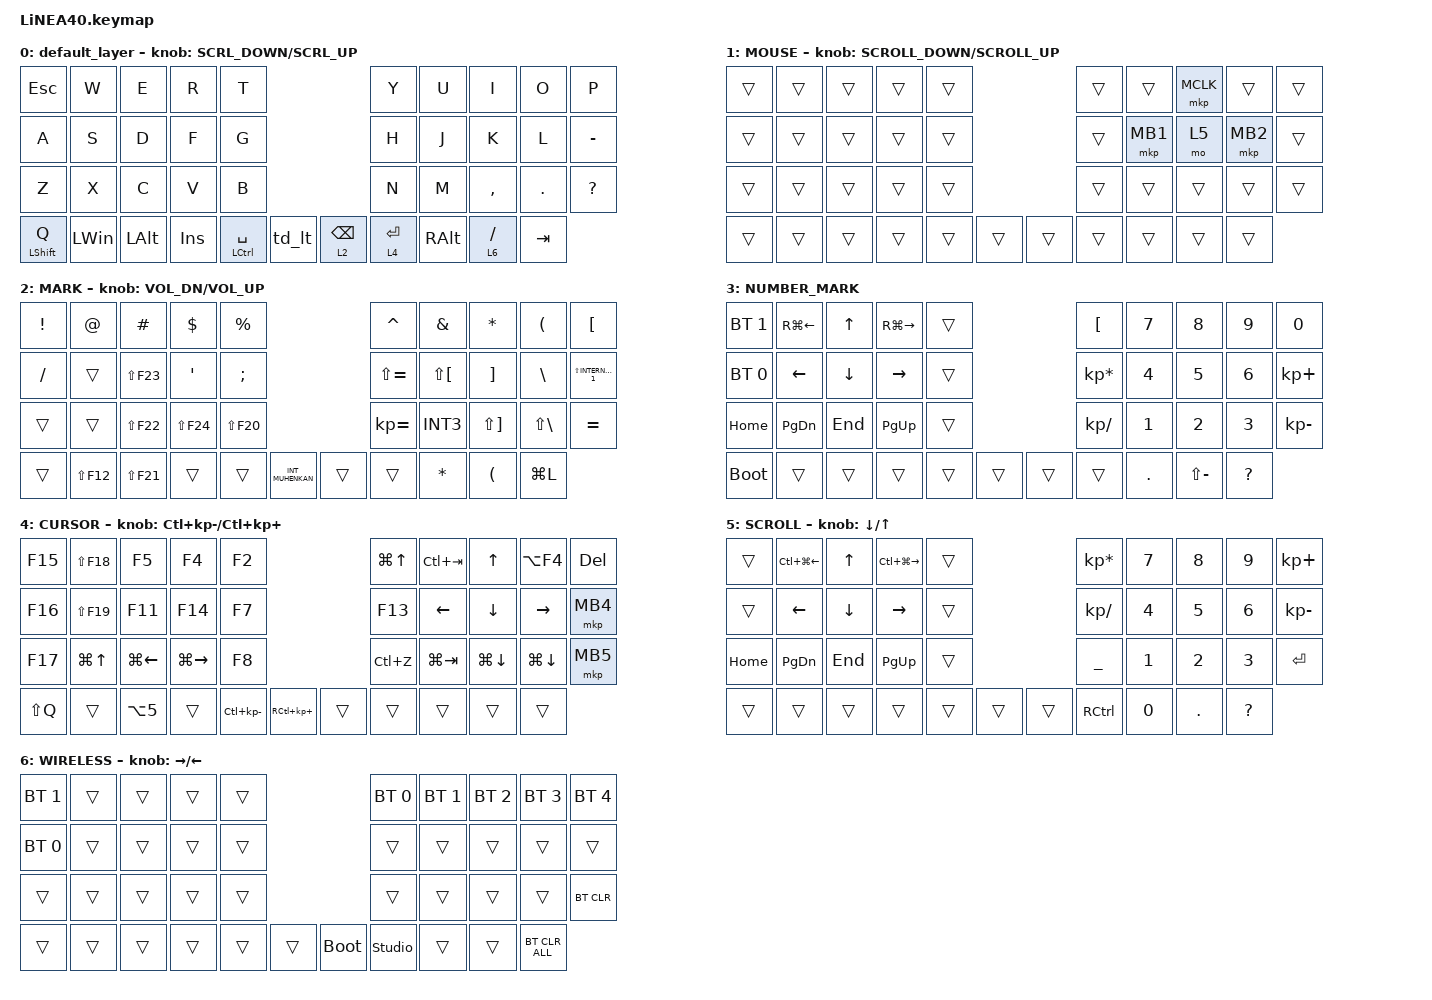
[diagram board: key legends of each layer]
#define ZMK_POINTING_DEFAULT_SCRL_VAL 150

#include <dt-bindings/zmk/input_transform.h>
#include <input/processors.dtsi>
#include <zephyr/dt-bindings/input/input-event-codes.h>
#include <behaviors.dtsi>
#include <dt-bindings/zmk/bt.h>
#include <dt-bindings/zmk/keys.h>
#include <dt-bindings/zmk/pointing.h>

#define MOUSE 1
#define MARK 2
#define CURSOR 3
#define FUNCTION 4
#define SCROLL 5
#define WIRELESS 6

//mouse cursol

&mmv {
    delay-ms = <20>;
    trigger-period-ms = <5>;
    time-to-max-speed-ms = <100>;
    acceleration-exponent = <2>;
};

//mouse scroll

&msc {
    delay-ms = <3>;
    trigger-period-ms = <3>;
    time-to-max-speed-ms = <100>;
    acceleration-exponent = <0>;
};

&lt { tapping-term-ms = <200>; };

/ {
    input_processors {
        zip_wheel_scaler: zip_wheel_scaler {
            compatible = "zmk,input-processor-scaler";
            #input-processor-cells = <2>;
            type = <INPUT_EV_REL>;
            codes = <INPUT_REL_WHEEL>;
            track-remainders;
        };
    };
};

&msc_input_listener {
    speed_up {
        layers = <FUNCTION>;
        input-processors = <&zip_wheel_scaler 2 1>; //スクロールを3倍速にする
    };
};

&trackball_listener {
    scroller {
        layers = <SCROLL>;
        input-processors =
            <&zip_xy_transform INPUT_TRANSFORM_Y_INVERT>,
            //スクロール方向を逆転,,,,,,,,,,,,,,,,,,,,,,,,,
            <&zip_xy_to_scroll_mapper>;
    };
};

/ {
    combos {
        compatible = "zmk,combos";

        ZenkakuHankaku {
            bindings = <&kp GRAVE>;
            key-positions = <11 12>;
        };

        DeleteKey {
            bindings = <&kp DEL>;
            key-positions = <7 8>;
        };

        InsertKey {
            bindings = <&kp INS>;
            key-positions = <6 7>;
        };

        CenterClick {
            bindings = <&mkp MB3>;
            key-positions = <17 16>;
        };

        RightClick {
            bindings = <&mkp MB2>;
            key-positions = <18 17>;
        };

        PrevClick {
            bindings = <&mkp MB4>;
            key-positions = <27 28>;
        };

        ClickNext {
            bindings = <&mkp MB5>;
            key-positions = <26 27>;
        };
    };

    behaviors {
        re_kp: sensor_rotate_kp {
            compatible = "zmk,behavior-sensor-rotate-var";
            #sensor-binding-cells = <2>;
            bindings = <&kp>, <&kp>;
        };

        mouse_scrl: mouse_wheel_scrl {
            compatible = "zmk,behavior-sensor-rotate-var";
            #sensor-binding-cells = <2>;
            bindings = <&msc>, <&msc>;

            tap-ms = <20>;
        };

        td_lt: tap_dance_layer_tap {
            compatible = "zmk,behavior-tap-dance";
            #binding-cells = <0>;
            tapping-term-ms = <220>;
            bindings = <&lt 3 INT_HENKAN>, <&kp INT_MUHENKAN>;
        };
    };

    keymap {
        compatible = "zmk,keymap";

        default_layer {
            bindings = <
&kp ESC           &kp W         &kp E         &kp R    &kp T                                       &kp Y        &kp U  &kp I          &kp O        &kp P
&kp A             &kp S         &kp D         &kp F    &kp G                                       &kp H        &kp J  &kp K          &kp L        &kp MINUS
&kp Z             &kp X         &kp C         &kp V    &kp B                                       &kp N        &kp M  &kp COMMA      &kp DOT      &kp QUESTION
&mt LEFT_SHIFT Q  &kp LEFT_WIN  &kp LEFT_ALT  &kp INS  &mt LCTRL SPACE  &td_lt    &lt 2 BACKSPACE  &lt 4 ENTER         &kp RIGHT_ALT  &lt 6 SLASH  &kp TAB
            >;

            sensor-bindings = <&mouse_scrl SCRL_DOWN SCRL_UP>;
        };

        //1

        MOUSE {
            bindings = <
&trans  &trans  &trans  &trans  &trans                    &trans  &trans    &mkp MCLK  &trans    &trans
&trans  &trans  &trans  &trans  &trans                    &trans  &mkp MB1  &mo 5      &mkp MB2  &trans
&trans  &trans  &trans  &trans  &trans                    &trans  &trans    &trans     &trans    &trans
&trans  &trans  &trans  &trans  &trans  &trans    &trans  &trans            &trans     &trans    &trans
            >;

            sensor-bindings = <&inc_dec_kp K_SCROLL_DOWN K_SCROLL_UP>;
        };

        //2

        MARK {
            bindings = <
&kp EXCLAMATION  &kp AT       &kp HASH     &kp DOLLAR   &kp PERCENT                                &kp CARET      &kp AMPERSAND  &kp ASTERISK           &kp LEFT_PARENTHESIS  &kp LBKT
&kp SLASH        &trans       &kp LS(F23)  &kp APOS     &kp SEMICOLON                              &kp LS(EQUAL)  &kp LS(LBKT)   &kp RIGHT_BRACKET      &kp BACKSLASH         &kp LS(INTERNATIONAL_1)
&trans           &trans       &kp LS(F22)  &kp LS(F24)  &kp LS(F20)                                &kp KP_EQUAL   &kp INT3       &kp LS(RIGHT_BRACKET)  &kp LS(BACKSLASH)     &kp EQUAL
&trans           &kp LS(F12)  &kp LS(F21)  &trans       &trans         &kp INT_MUHENKAN    &trans  &trans                        &kp ASTERISK           &kp LEFT_PARENTHESIS  &kp LG(L)
            >;

            sensor-bindings = <&re_kp C_VOL_DN C_VOLUME_UP>;
        };

        //3

        NUMBER_MARK {
            bindings = <
&bt BT_SEL 1  &kp RG(LEFT)    &kp UP_ARROW  &kp RG(RIGHT)    &trans                    &kp LEFT_BRACKET  &kp NUMBER_7  &kp NUMBER_8  &kp NUMBER_9   &kp N0
&bt BT_SEL 0  &kp LEFT_ARROW  &kp DOWN      &kp RIGHT_ARROW  &trans                    &kp KP_MULTIPLY   &kp NUMBER_4  &kp NUMBER_5  &kp NUMBER_6   &kp KP_PLUS
&kp HOME      &kp PAGE_DOWN   &kp END       &kp PAGE_UP      &trans                    &kp KP_SLASH      &kp NUMBER_1  &kp NUMBER_2  &kp NUMBER_3   &kp KP_MINUS
&bootloader   &trans          &trans        &trans           &trans  &trans    &trans  &trans                          &kp DOT       &kp LS(MINUS)  &kp QUESTION
            >;
        };

        //4

        CURSOR {
            bindings = <
&kp F15    &kp LS(F18)       &kp F5              &kp F4               &kp F2                                       &kp LG(UP)  &kp LC(TAB)  &kp UP              &kp LA(F4)    &kp DEL
&kp F16    &kp LS(F19)       &kp F11             &kp F14              &kp F7                                       &kp F13     &kp LEFT     &kp DOWN            &kp RIGHT     &mkp MB4
&kp F17    &kp LG(UP_ARROW)  &kp LG(LEFT_ARROW)  &kp LG(RIGHT_ARROW)  &kp F8                                       &kp LC(Z)   &kp LG(TAB)  &kp LG(DOWN_ARROW)  &kp LG(DOWN)  &mkp MB5
&kp LS(Q)  &trans            &kp LA(NUMBER_5)    &trans               &kp LC(KP_MINUS)  &kp RC(KP_PLUS)    &trans  &trans                   &trans              &trans        &trans
            >;

            sensor-bindings = <&re_kp LC(KP_MINUS) LC(KP_PLUS)>;
        };

        //5

        SCROLL {
            bindings = <
&trans    &kp LC(LG(LEFT_ARROW))  &kp UP_ARROW  &kp LC(LG(RIGHT_ARROW))  &trans                    &kp KP_MULTIPLY  &kp NUMBER_7  &kp NUMBER_8  &kp NUMBER_9  &kp KP_PLUS
&trans    &kp LEFT_ARROW          &kp DOWN      &kp RIGHT_ARROW          &trans                    &kp KP_SLASH     &kp NUMBER_4  &kp NUMBER_5  &kp NUMBER_6  &kp KP_MINUS
&kp HOME  &kp PAGE_DOWN           &kp END       &kp PAGE_UP              &trans                    &kp UNDER        &kp NUMBER_1  &kp NUMBER_2  &kp NUMBER_3  &kp ENTER
&trans    &trans                  &trans        &trans                   &trans  &trans    &trans  &kp RCTRL                      &kp NUMBER_0  &kp DOT       &kp QUESTION
            >;

            sensor-bindings = <&inc_dec_kp DOWN_ARROW UP_ARROW>;
        };

        //6

        WIRELESS {
            bindings = <
&bt BT_SEL 1  &trans  &trans  &trans  &trans                         &bt BT_SEL 0    &bt BT_SEL 1  &bt BT_SEL 2  &bt BT_SEL 3  &bt BT_SEL 4
&bt BT_SEL 0  &trans  &trans  &trans  &trans                         &trans          &trans        &trans        &trans        &trans
&trans        &trans  &trans  &trans  &trans                         &trans          &trans        &trans        &trans        &bt BT_CLR
&trans        &trans  &trans  &trans  &trans  &trans    &bootloader  &studio_unlock                &trans        &trans        &bt BT_CLR_ALL
            >;

            sensor-bindings = <&inc_dec_kp RIGHT_ARROW LEFT_ARROW>;
        };
    };
};
